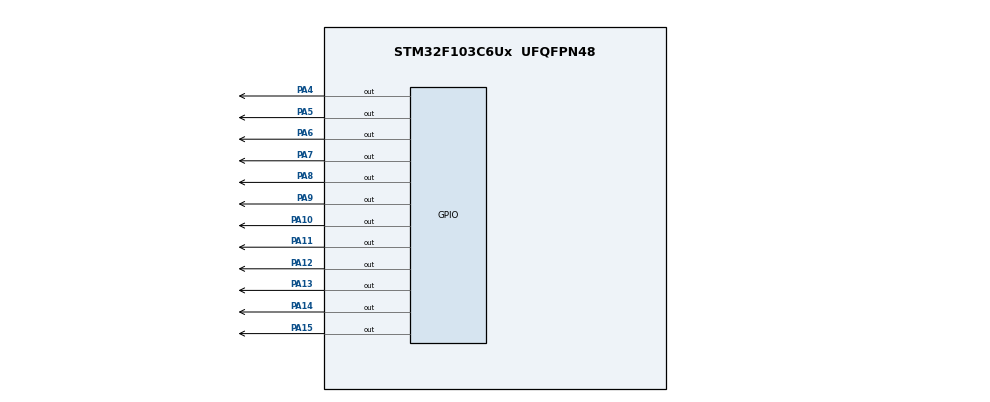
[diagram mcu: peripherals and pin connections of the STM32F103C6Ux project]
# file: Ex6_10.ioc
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Mcu.Family=STM32F1
Mcu.Name=STM32F103C6Ux
Mcu.Package=UFQFPN48
NVIC.PriorityGroup=NVIC_PRIORITYGROUP_4
PA10.Signal=GPIO_Output
PA11.Signal=GPIO_Output
PA12.Signal=GPIO_Output
PA13.Signal=GPIO_Output
PA14.Signal=GPIO_Output
PA15.Signal=GPIO_Output
PA4.Signal=GPIO_Output
PA5.Signal=GPIO_Output
PA6.Signal=GPIO_Output
PA7.Signal=GPIO_Output
PA8.Signal=GPIO_Output
PA9.Signal=GPIO_Output
ProjectManager.HeapSize=0x200
ProjectManager.StackSize=0x400
ProjectManager.TargetToolchain=STM32CubeIDE
RCC.APB1Freq_Value=8000000
RCC.APB2Freq_Value=8000000
VP_SYS_VS_ND.Mode=No_Debug
board=custom

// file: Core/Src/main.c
/* USER CODE BEGIN Header */
/**
  ******************************************************************************
  * @file           : main.c
  * @brief          : Main program body
  ******************************************************************************
  * @attention
  *
  * <h2><center>&copy; Copyright (c) 2026 STMicroelectronics.
  * All rights reserved.</center></h2>
  *
  * This software component is licensed by ST under BSD 3-Clause license,
  * the "License"; You may not use this file except in compliance with the
  * License. You may obtain a copy of the License at:
  *                        opensource.org/licenses/BSD-3-Clause
  *
  ******************************************************************************
  */
/* USER CODE END Header */
#include "main.h"

/* USER CODE BEGIN PV */
/* USER CODE BEGIN PV */
uint16_t pins[12] = {
		 GPIO_PIN_15, GPIO_PIN_4, GPIO_PIN_5, GPIO_PIN_6, GPIO_PIN_7,
    GPIO_PIN_8, GPIO_PIN_9, GPIO_PIN_10, GPIO_PIN_11,
    GPIO_PIN_12, GPIO_PIN_13, GPIO_PIN_14
};
/* USER CODE END PV */
/* USER CODE END PV */

void SystemClock_Config(void);
static void MX_GPIO_Init(void);
/* USER CODE BEGIN PFP */

void clearAllClock(void);
void setNumberOnClock(int num);
void clearNumberOnClock(int num);
/* USER CODE END PFP */

/* USER CODE BEGIN 0 */
void clearAllClock() {
    for(int i = 0; i < 12; i++) {
        HAL_GPIO_WritePin(GPIOA, pins[i], GPIO_PIN_RESET);
    }
}

void setNumberOnClock(int num) {
    if(num >= 0 && num <= 11) {
        HAL_GPIO_WritePin(GPIOA, pins[num], GPIO_PIN_SET);
    }
}

void clearNumberOnClock(int num) {
    if(num >= 0 && num <= 11) {
        HAL_GPIO_WritePin(GPIOA, pins[num], GPIO_PIN_RESET);
    }
}
/* USER CODE END 0 */

int main(void)
{

  /* MCU Configuration--------------------------------------------------------*/

  /* Reset of all peripherals, Initializes the Flash interface and the Systick. */
  HAL_Init();

  /* Configure the system clock */
  SystemClock_Config();

  /* Initialize all configured peripherals */
  MX_GPIO_Init();

  /* Infinite loop */
  /* USER CODE BEGIN WHILE */
//  while (1)
//  {
//    /* USER CODE END WHILE */
//	  for(int i = 0; i < 12; i++) {
//	          HAL_GPIO_WritePin(GPIOA, clock_pins[i], GPIO_PIN_SET);
//	          HAL_Delay(500);
//	          HAL_GPIO_WritePin(GPIOA, clock_pins[i], GPIO_PIN_RESET);
//	  }
//    /* USER CODE BEGIN 3 */
//  }

  /* USER CODE BEGIN 2 */
  int hour = 0;
  int minute = 0;
  int second = 0;
  /* USER CODE END 2 */

  /* USER CODE BEGIN WHILE */
  while (1)
  {
	      clearAllClock();

	      int second_pos = second / 5;
	      int minute_pos = minute / 5;
	      int hour_pos = hour;

	      setNumberOnClock(second_pos);
	      setNumberOnClock(minute_pos);
	      setNumberOnClock(hour_pos);

	      HAL_Delay(10);

	      second++;
	      if(second >= 60) {
	          second = 0;
	          minute++;
	      }
	      if(minute >= 60) {
	          minute = 0;
	          hour++;
	      }
	      if(hour >= 12) {
	          hour = 0;
	      }
  /* USER CODE END WHILE */
  }
  /* USER CODE END 3 */
}

void SystemClock_Config(void)
{
  RCC_OscInitTypeDef RCC_OscInitStruct = {0};
  RCC_ClkInitTypeDef RCC_ClkInitStruct = {0};

  /** Initializes the RCC Oscillators according to the specified parameters
  * in the RCC_OscInitTypeDef structure.
  */
  RCC_OscInitStruct.OscillatorType = RCC_OSCILLATORTYPE_HSI;
  RCC_OscInitStruct.HSIState = RCC_HSI_ON;
  RCC_OscInitStruct.HSICalibrationValue = RCC_HSICALIBRATION_DEFAULT;
  RCC_OscInitStruct.PLL.PLLState = RCC_PLL_NONE;
  if (HAL_RCC_OscConfig(&RCC_OscInitStruct) != HAL_OK)
  {
    Error_Handler();
  }
  /** Initializes the CPU, AHB and APB buses clocks
  */
  RCC_ClkInitStruct.ClockType = RCC_CLOCKTYPE_HCLK|RCC_CLOCKTYPE_SYSCLK
                              |RCC_CLOCKTYPE_PCLK1|RCC_CLOCKTYPE_PCLK2;
  RCC_ClkInitStruct.SYSCLKSource = RCC_SYSCLKSOURCE_HSI;
  RCC_ClkInitStruct.AHBCLKDivider = RCC_SYSCLK_DIV1;
  RCC_ClkInitStruct.APB1CLKDivider = RCC_HCLK_DIV1;
  RCC_ClkInitStruct.APB2CLKDivider = RCC_HCLK_DIV1;

  if (HAL_RCC_ClockConfig(&RCC_ClkInitStruct, FLASH_LATENCY_0) != HAL_OK)
  {
    Error_Handler();
  }
}

static void MX_GPIO_Init(void)
{
  GPIO_InitTypeDef GPIO_InitStruct = {0};

  /* GPIO Ports Clock Enable */
  __HAL_RCC_GPIOA_CLK_ENABLE();

  /*Configure GPIO pin Output Level */
  HAL_GPIO_WritePin(GPIOA, GPIO_PIN_4|GPIO_PIN_5|GPIO_PIN_6|GPIO_PIN_7
                          |GPIO_PIN_8|GPIO_PIN_9|GPIO_PIN_10|GPIO_PIN_11
                          |GPIO_PIN_12|GPIO_PIN_13|GPIO_PIN_14|GPIO_PIN_15, GPIO_PIN_RESET);

  /*Configure GPIO pins : PA4 PA5 PA6 PA7
                           PA8 PA9 PA10 PA11
                           PA12 PA13 PA14 PA15 */
  GPIO_InitStruct.Pin = GPIO_PIN_4|GPIO_PIN_5|GPIO_PIN_6|GPIO_PIN_7
                          |GPIO_PIN_8|GPIO_PIN_9|GPIO_PIN_10|GPIO_PIN_11
                          |GPIO_PIN_12|GPIO_PIN_13|GPIO_PIN_14|GPIO_PIN_15;
  GPIO_InitStruct.Mode = GPIO_MODE_OUTPUT_PP;
  GPIO_InitStruct.Pull = GPIO_NOPULL;
  GPIO_InitStruct.Speed = GPIO_SPEED_FREQ_LOW;
  HAL_GPIO_Init(GPIOA, &GPIO_InitStruct);

}

void Error_Handler(void)
{
  __disable_irq();
  while (1)
  {
  }
}

/************************ (C) COPYRIGHT STMicroelectronics *****END OF FILE****/
